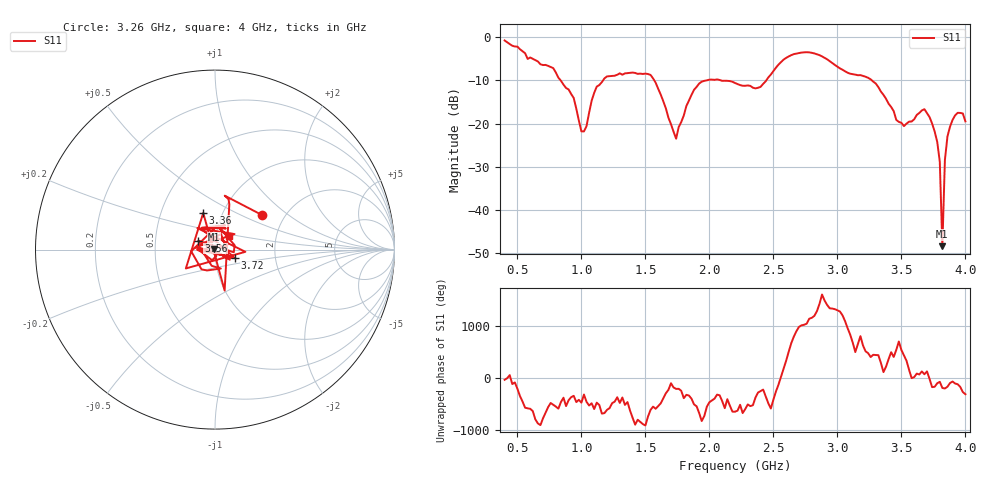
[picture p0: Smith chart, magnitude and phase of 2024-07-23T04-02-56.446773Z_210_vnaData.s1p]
!Created with skrf (http://scikit-rf.org).
# Hz S RI R 50.0
!freq ReS11 ImS11
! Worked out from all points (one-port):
!   181 points, 400 MHz to 4 GHz, reference 50 ohm
!   lowest |S11| = -48.4 dB at 3.82 GHz (marker M1), VSWR 1.01, Z = 49.6 + j0.1 ohm
!   |S11| at or under -10 dB: 1.569 GHz to 1.98 GHz (411 MHz wide, 23.2 % of centre); 2.088 GHz to 2.445 GHz (356.7 MHz wide, 15.7 % of centre); 3.269 GHz to end of sweep (the widest 3 of 4)
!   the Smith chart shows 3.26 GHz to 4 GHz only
!   S11 on the Smith chart (normalised r, x): 3.26 GHz: 1.53, +0.66; 3.36 GHz: 0.81, +0.35; 3.56 GHz: 0.83, +0.08; 3.72 GHz: 1.24, -0.12; 4 GHz: 1.15, +0.17
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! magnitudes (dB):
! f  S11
! 400 MHz  -0.8
! 780 MHz  -7.2
! 860 MHz  -11.0
! 940 MHz  -14.1
! 1.02 GHz  -21.8
! 1.12 GHz  -11.4
! 1.3 GHz  -8.4
! 1.54 GHz  -8.7
! 1.74 GHz  -23.5
! 1.76 GHz  -20.8
! 1.92 GHz  -10.7
! 2.2 GHz  -10.6
! 2.4 GHz  -11.5
! 2.66 GHz  -3.9
! 3.1 GHz  -8.5
! 3.26 GHz  -9.8
! 3.36 GHz  -13.4
! 3.46 GHz  -19.2
! 3.56 GHz  -19.6
! 3.68 GHz  -16.7
! 3.72 GHz  -18.5
! 3.78 GHz  -24.3
! 3.8 GHz  -28.8
! 3.82 GHz  -48.4
! 3.84 GHz  -28.4
! 3.86 GHz  -23.0
! 3.94 GHz  -17.5
! 4 GHz  -19.5
